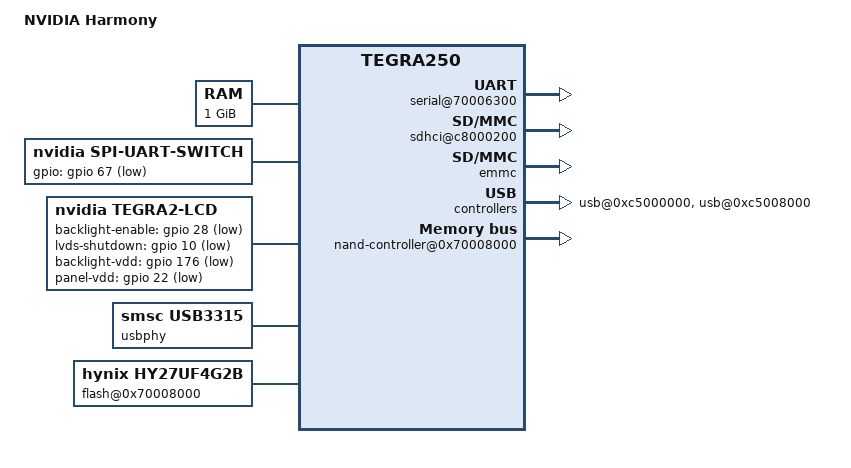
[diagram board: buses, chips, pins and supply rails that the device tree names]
/dts-v1/;

/memreserve/ 0x1c000000 0x04000000;
/include/ "tegra250.dtsi"
/include/ "chromeos.dtsi"
/include/ "flashmap-twostop-2mb.dtsi"

/* WARNING
 * WARNING
 * WARNING
 *
 * This file is mostly just a copy of the seaboard file and
 * hasn't been fully vetted.  It does let you get to the
 * u-boot prompt, but needs lots of love.  It should also
 * be reconciled against ../harmony/tegra2-harmony.dts (and
 * we should decide which of these two to delete).
 *
 * WARNING
 * WARNING
 * WARNING
 */

/ {
	model = "NVIDIA Harmony";
	compatible = "nvidia,harmony", "nvidia,tegra250";

	config {
		odmdata = <0x300d8011>;
		hwid = "ARM HARMONY TEST 2428";
		machine-arch-id = <2731>;

		/* Chrome OS specific GPIO */
		/*
		 * Parameter 3 bits
		 * bit 0: 1=output, 0=input
		 * bit 1: 1=high, 0=low
		 * bit 2: 1=active low, 0=active high
		 */
		/*write-protect-switch	= <&gpio 23 0>;*/
		recovery-switch		= <&gpio 56 4>;
		developer-switch	= <&gpio 168 0>;
		/*lid-switch		= <&gpio 23 4>;*/
		power-switch		= <&gpio 170 4>;
	};

	aliases {
		console = "/serial@70006300";
                usb0 = "/usb@0xc5008000";
                usb1 = "/usb@0xc5000000";

		sdmmc0 = "/sdhci@c8000600";
		sdmmc1 = "/sdhci@c8000200";

		i2c0 = "/i2c@0x7000d000";
		i2c1 = "/i2c@0x7000c000";
		i2c2 = "/i2c@0x7000c400";
		i2c3 = "/i2c@0x7000c500";
	};

	memory {
		device_type = "memory";
		reg = <0x00000000 0x40000000>;
	};

	serial@70006300 {
		status = "ok";
		clock-frequency = <216000000>;
	};

	/*
	 * TODO(dianders): Don't think harmony has a switch here, but things
	 * don't boot without this section.  Someone interested in harmony
	 * should debug the problem.
	 */
	switch {
		compatible = "nvidia,spi-uart-switch";
		uart = <&uart3>;

		/* Parameter 3 bit 0:1=output, 0=input; bit 1:1=high, 0=low */
		gpios = <&gpio 67 1>; /* Port I = 8 bit = 3: 8 * 8 + 3 */
	};

	sdhci@c8000200 {
		status = "ok";
		width = <4>;	/* width of SDIO port */
		removable = <1>;
		/* Parameter 3 bit 0:1=output, 0=input; bit 1:1=high, 0=low */
		cd-gpio = <&gpio 69 0>; /* card detect, gpio PI5 */
		wp-gpio = <&gpio 57 0>; /* write protect, gpio PH1 */
		power-gpio = <&gpio 70 3>; /* power enable, gpio PI6 */
	};

	emmc: sdhci@c8000600 {
		status = "ok";
		width = <4>;	/* width of SDIO port */
		removable = <0>;
	};

	/*
	 * TODO(dianders): We don't have a LCD, but we need this section so that
	 * we don't hang at boot (theory is that the problem is that the default
	 * environment says to print to the LCD).
	 */
	lcd {
		compatible = "nvidia,tegra2-lcd";
		width = <1366>;
		height = <768>;
		bits_per_pixel = <16>;
		pwfm = <&pwfm2>;
		display = <&display1>;
                /* frame-buffer location = top of memory - carveout - fb */
                frame-buffer = <0x2f680000>;

		pixel_clock = <70600000>;

		/* Timing: ref_to_sync, sync_width. back_porch, front_porch */
		horiz_timing = <11 58 58 58>;
		vert_timing = <1 4 4 4>;

		/* Parameter 3 bit 0:1=output, 0=input; bit 1:1=high, 0=low */
		backlight-enable = <&gpio 28 1>;	/* PD4 */
		lvds-shutdown = <&gpio 10 1>;		/* PB2 */
		backlight-vdd = <&gpio 176 1>;		/* PW0 */
		panel-vdd = <&gpio 22 1>;		/* PC6 */

		/*
		 * Panel required timings
		 * Timing 1: delay between panel_vdd-rise and data-rise
		 * Timing 2: delay between data-rise and backlight_vdd-rise
		 * Timing 3: delay between backlight_vdd and pwm-rise
		 * Timing 4: delay between pwm-rise and backlight_en-rise
		 */
		panel-timings = <4 203 17 15>;
	};

	usb@0xc5000000 {
		status = "ok";
		host-mode = <1>;
	};

	usbphy: usbphy@0 {
		compatible = "smsc,usb3315";
		status = "ok";
	};

	usb@0xc5008000 {
		status = "ok";
		utmi = <&usbphy>;
		host-mode = <0>;
	};

	flash@0x70008000 {
		compatible = "hynix,HY27UF4G2B", "nand-flash";
		controller = <&nand>;

		/* How many bytes for data area */
		page-data-bytes = <2048>;

		/* How many ECC bytes to be generated for tag bytes */
		tag-ecc-bytes = <4>;

		/* How many tag bytes in spare area */
		tag-bytes = <20>;

		/* How many ECC bytes for data area */
		data-ecc-bytes = <36>;

		skipped-spare-bytes = <4>;

		/*
		 * How many bytes in spare area
		 * spare area = skipped bytes + ECC bytes of data area
		 * + tag bytes + ECC bytes of tag bytes
		 */
		page-spare-bytes = <64>;

		/*
		 * MAX_TRP_TREA:
		 * non-EDO mode: value (in ns) = Max(tRP, tREA) + 6ns
		 * EDO mode: value (in ns) = tRP timing
		 *
		 * Timing values: MAX_TRP_TREA, TWB, Max(tCS, tCH, tALS, tALH),
		 *	TWHR, Max(tCS, tCH, tALS, tALH), TWH, TWP, TRH, TADL
		 */
		timing = <26 100 20 80 20 10 12 10 70>;
	};

	nand-controller@0x70008000 {
		status = "ok";
		wp-gpio = <&gpio 23 3>;		/* PC7 */
		width = <8>;
	};
};
